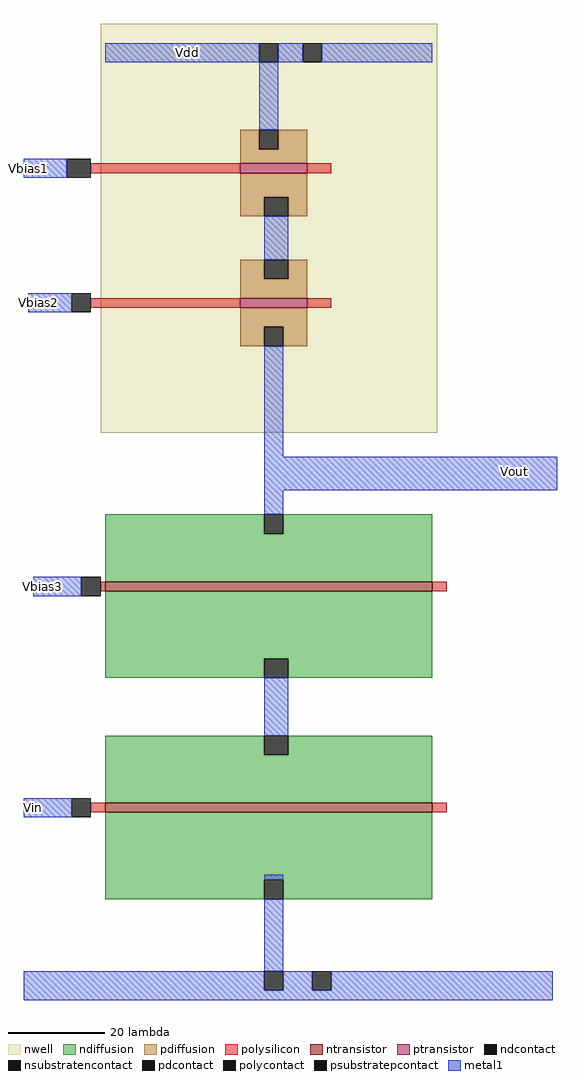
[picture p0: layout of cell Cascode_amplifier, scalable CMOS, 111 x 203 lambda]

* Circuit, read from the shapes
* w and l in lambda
.subckt Cascode_amplifier Vbias1 Vbias2 Vbias3 Vdd Vin Vout
M1 n1 Vin VSUBS VSUBS nfet w=68 l=2
M2 Vout Vbias3 n1 VSUBS nfet w=68 l=2
M3 n2 Vbias2 Vout Vdd pfet w=14 l=2
M4 Vdd Vbias1 n2 Vdd pfet w=14 l=2
.ends

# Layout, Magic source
magic
tech scmos
<< nwell >>
rect -7 9 63 94
<< ntransistor >>
rect -6 -24 62 -22
rect -6 -70 62 -68
<< ptransistor >>
rect 22 63 36 65
rect 22 35 36 37
<< ndiffusion >>
rect -6 -12 27 -8
rect 31 -12 62 -8
rect -6 -22 62 -12
rect -6 -38 62 -24
rect -6 -42 27 -38
rect 32 -42 62 -38
rect -6 -58 27 -54
rect 32 -58 62 -54
rect -6 -68 62 -58
rect -6 -84 62 -70
rect -6 -88 27 -84
rect 31 -88 62 -84
<< pdiffusion >>
rect 22 68 26 72
rect 30 68 36 72
rect 22 65 36 68
rect 22 58 36 63
rect 22 54 27 58
rect 32 54 36 58
rect 22 41 27 45
rect 32 41 36 45
rect 22 37 36 41
rect 22 31 36 35
rect 22 27 27 31
rect 31 27 36 31
<< ndcontact >>
rect 27 -12 31 -8
rect 27 -42 32 -38
rect 27 -58 32 -54
rect 27 -88 31 -84
<< pdcontact >>
rect 26 68 30 72
rect 27 54 32 58
rect 27 41 32 45
rect 27 27 31 31
<< psubstratepcontact >>
rect 27 -107 31 -103
rect 37 -107 41 -103
<< nsubstratencontact >>
rect 26 86 30 90
rect 35 86 39 90
<< polysilicon >>
rect -9 63 22 65
rect 36 63 41 65
rect -9 35 22 37
rect 36 35 41 37
rect -7 -24 -6 -22
rect 62 -24 65 -22
rect -9 -70 -6 -68
rect 62 -70 65 -68
<< polycontact >>
rect -14 62 -9 66
rect -13 34 -9 38
rect -11 -25 -7 -21
rect -13 -71 -9 -67
<< metal1 >>
rect -6 86 26 90
rect 30 86 35 90
rect 39 86 62 90
rect 26 72 30 86
rect -23 62 -14 66
rect 27 45 32 54
rect -22 34 -13 38
rect 27 4 31 27
rect 27 -3 88 4
rect 27 -8 31 -3
rect -21 -25 -11 -21
rect 27 -54 32 -42
rect -23 -71 -13 -67
rect 27 -84 31 -83
rect 27 -103 31 -88
rect -23 -107 27 -103
rect 31 -107 37 -103
rect 41 -107 87 -103
rect -23 -109 87 -107
<< labels >>
rlabel metal1 79 1 79 1 1 Vout
rlabel metal1 11 88 11 88 1 Vdd
rlabel metal1 -22 64 -22 64 3 Vbias1
rlabel metal1 -20 36 -20 36 3 Vbias2
rlabel metal1 -19 -23 -19 -23 3 Vbias3
rlabel metal1 -21 -69 -21 -69 3 Vin
<< end >>
